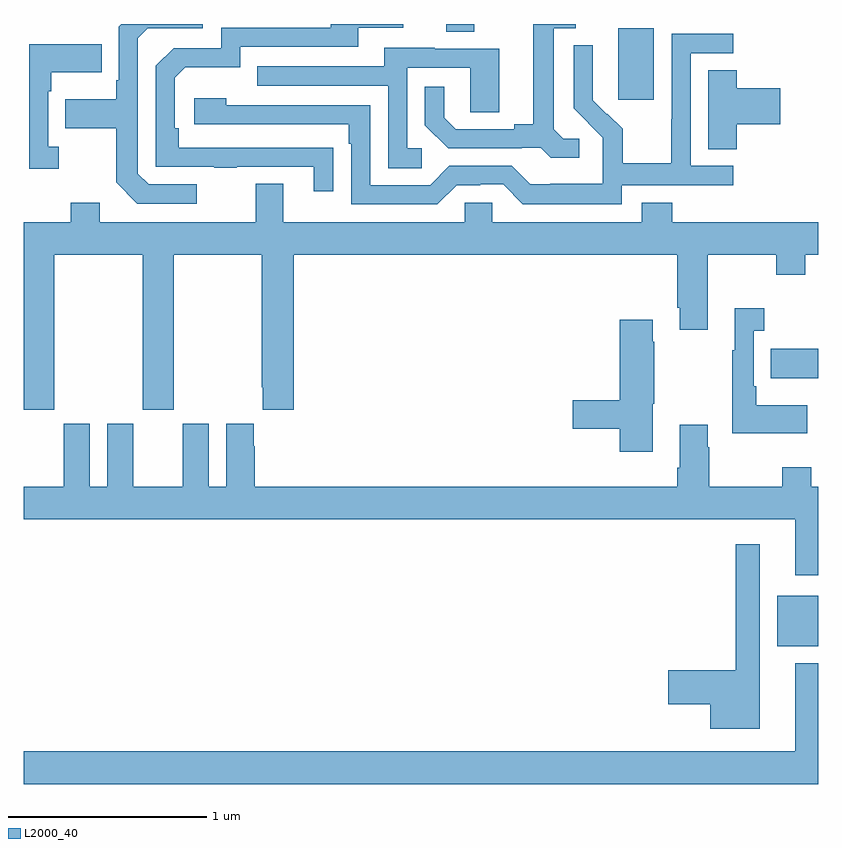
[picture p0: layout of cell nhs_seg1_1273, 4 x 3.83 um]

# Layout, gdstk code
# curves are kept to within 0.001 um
import gdstk
lib = gdstk.Library(unit=1e-6, precision=1e-09)
def R(c, l, rs):  # rectangles x0, y0, x1, y1
    for r in rs: c.add(gdstk.rectangle(r[:2], r[2:], *l))
def P(c, l, *ps):  # polygons
    for p in ps: c.add(gdstk.Polygon(p, *l))
L2000_40 = (2000, 40)

nhs_seg1_1273 = lib.new_cell('nhs_seg1_1273')
R(nhs_seg1_1273, L2000_40, [(182.795,579.065,183,579.319), (182.761,580.415,183,580.563), (181.994,581.817,182.173,582.178), (181.127,582.16,181.267,582.199)])
P(nhs_seg1_1273, L2000_40, [(179.872,581.391),(179.628,581.391),(179.574,581.445),(179.574,582.126),(179.625,582.177),(179.902,582.177),(179.902,582.199),(179.491,582.199),(179.478,582.186),(179.478,581.917),(179.466,581.917),(179.466,581.821),(179.209,581.821),(179.209,581.674),(179.466,581.674),(179.466,581.401),(179.571,581.295),(179.872,581.295)],
  [(181.798,581.622),(181.716,581.622),(181.669,581.669),(181.669,582.177),(181.78,582.177),(181.78,582.199),(181.565,582.199),(181.565,581.693),(181.469,581.693),(181.469,581.67),(181.174,581.67),(181.117,581.727),(181.117,581.884),(181.02,581.884),(181.02,581.69),(181.136,581.574),(181.508,581.574),(181.508,581.577),(181.602,581.577),(181.654,581.525),(181.798,581.525)],
  [(180.557,581.576),(179.78,581.577),(179.78,581.674),(179.76,581.674),(179.76,581.928),(179.813,581.981),(180.09,581.981),(180.09,582.084),(180.685,582.084),(180.685,582.18),(180.91,582.18),(180.91,582.199),(180.545,582.199),(180.545,582.18),(179.994,582.18),(179.994,582.078),(179.754,582.078),(179.664,581.988),(179.664,581.481),(179.959,581.481),(179.959,581.476),(180.071,581.476),(180.071,581.481),(180.461,581.481),(180.461,581.358),(180.557,581.358)],
  [(182.01,581.388),(182.572,581.388),(182.572,581.484),(182.358,581.484),(182.358,582.051),(182.572,582.051),(182.572,582.15),(182.262,582.15),(182.262,581.72),(182.26,581.72),(182.26,581.497),(182.015,581.497),(182.015,581.671),(181.938,581.748),(181.935,581.745),(181.865,581.816),(181.866,582.092),(181.77,582.092),(181.77,581.774),(181.916,581.626),(181.916,581.529),(181.914,581.529),(181.914,581.395),(181.651,581.395),(181.651,581.391),(181.551,581.391),(181.458,581.484),(181.143,581.484),(181.047,581.388),(180.744,581.388),(180.744,581.79),(180.02,581.79),(180.02,581.824),(179.859,581.824),(179.859,581.694),(180.635,581.694),(180.635,581.597),(180.648,581.597),(180.648,581.292),(181.083,581.292),(181.179,581.388),(181.298,581.388),(181.298,581.391),(181.413,581.391),(181.513,581.291),(182.01,581.291)],
  [(179.176,581.582),(179.124,581.582),(179.124,581.861),(179.137,581.861),(179.137,581.957),(179.393,581.957),(179.393,582.097),(179.027,582.097),(179.027,581.469),(179.176,581.469)],
  [(181.003,581.574),(180.93,581.574),(180.93,581.979),(181.248,581.979),(181.248,581.755),(181.393,581.755),(181.393,582.075),(181.069,582.075),(181.069,582.079),(180.815,582.079),(180.815,581.985),(180.175,581.985),(180.175,581.889),(180.834,581.889),(180.834,581.473),(181.003,581.473)],
  [(182.591,581.693),(182.809,581.693),(182.809,581.876),(182.591,581.876),(182.591,581.966),(182.447,581.966),(182.447,581.569),(182.591,581.569)],
  [(179.154,581.036),(179.599,581.036),(179.599,580.257),(179.754,580.257),(179.754,581.036),(180.199,581.036),(180.199,580.369),(180.203,580.369),(180.203,580.257),(180.359,580.257),(180.359,581.036),(182.291,581.036),(182.291,580.771),(182.303,580.771),(182.303,580.659),(182.443,580.659),(182.443,581.036),(182.788,581.036),(182.788,580.937),(182.935,580.937),(182.935,581.036),(183,581.036),(183,581.2),(182.264,581.2),(182.264,581.299),(182.111,581.299),(182.111,581.2),(181.359,581.2),(181.359,581.298),(181.221,581.298),(181.221,581.2),(180.307,581.2),(180.307,581.395),(180.167,581.395),(180.167,581.2),(179.383,581.2),(179.383,581.299),(179.236,581.299),(179.236,581.2),(179,581.2),(179,580.257),(179.154,580.257)],
  [(182.945,580.279),(182.689,580.279),(182.689,580.375),(182.676,580.375),(182.676,580.655),(182.728,580.655),(182.728,580.768),(182.579,580.768),(182.579,580.555),(182.568,580.555),(182.568,580.139),(182.945,580.139)],
  [(182.167,580.287),(182.175,580.287),(182.175,580.598),(182.167,580.598),(182.167,580.711),(182,580.711),(182,580.304),(181.764,580.304),(181.764,580.162),(182,580.162),(182,580.044),(182.167,580.044)],
  [(183,579.868),(182.964,579.868),(182.964,579.967),(182.818,579.967),(182.818,579.868),(182.451,579.868),(182.451,580.067),(182.443,580.067),(182.443,580.18),(182.303,580.18),(182.303,579.964),(182.291,579.964),(182.291,579.868),(180.164,579.868),(180.164,580.073),(180.157,580.073),(180.157,580.186),(180.02,580.186),(180.02,579.868),(179.932,579.868),(179.932,580.186),(179.801,580.186),(179.801,579.868),(179.551,579.868),(179.551,580.186),(179.42,580.186),(179.42,579.868),(179.332,579.868),(179.332,580.186),(179.201,580.186),(179.201,579.868),(179,579.868),(179,579.704),(182.885,579.704),(182.885,579.423),(183,579.423)],
  [(182.707,579.58),(182.586,579.58),(182.586,578.945),(182.244,578.945),(182.244,578.774),(182.456,578.774),(182.456,578.651),(182.707,578.651)],
  [(183,578.98),(182.885,578.98),(182.885,578.536),(179,578.536),(179,578.372),(183,578.372)])

lib.write_gds('nhs_seg1_1273.gds')
